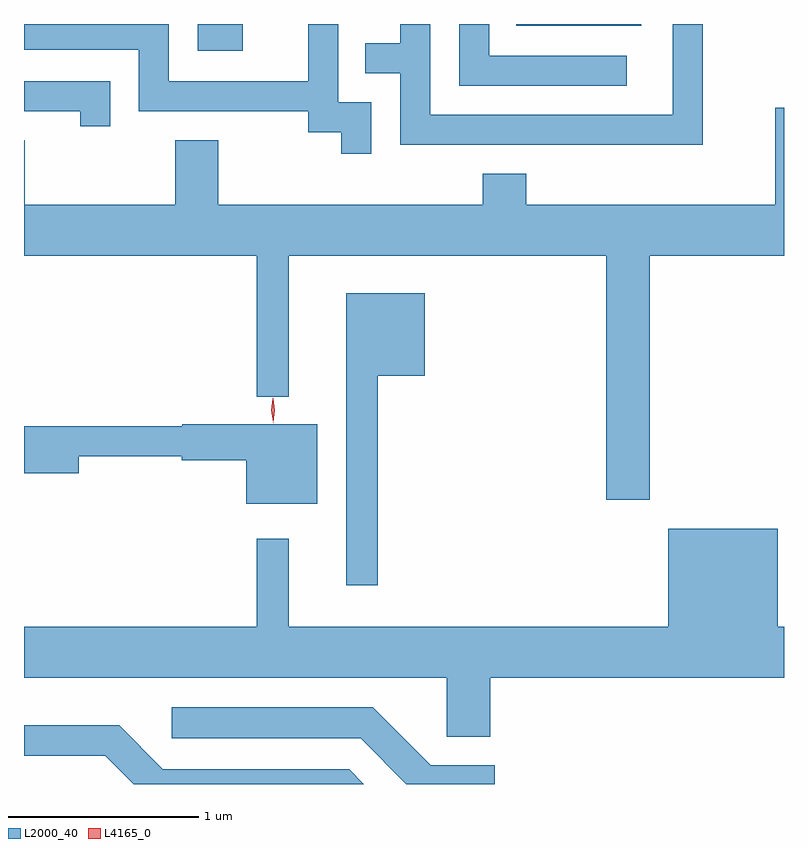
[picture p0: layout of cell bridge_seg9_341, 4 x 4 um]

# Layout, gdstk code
import gdstk
lib = gdstk.Library(unit=1e-6, precision=1e-09)
def R(c, l, rs):  # rectangles x0, y0, x1, y1
    for r in rs: c.add(gdstk.rectangle(r[:2], r[2:], *l))
def P(c, l, *ps):  # polygons
    for p in ps: c.add(gdstk.Polygon(p, *l))
L2000_40 = (2000, 40)
L4165_0 = (4165, 0)

bridge_seg9_341 = lib.new_cell('bridge_seg9_341')
R(bridge_seg9_341, L2000_40, [(741.181,2003.996,741.418,2004.136), (742.858,2004.126,743.514,2004.136)])
P(bridge_seg9_341, L2000_40, [(743.839,2004.136),(743.681,2004.136),(743.681,2003.659),(742.404,2003.659),(742.404,2004.136),(742.246,2004.136),(742.246,2004.034),(742.063,2004.034),(742.063,2003.876),(742.246,2003.876),(742.246,2003.501),(743.839,2003.501)],
  [(742.094,2003.724),(741.919,2003.724),(741.919,2004.136),(741.761,2004.136),(741.761,2003.834),(741.029,2003.834),(741.029,2004.136),(740.266,2004.136),(740.266,2004.001),(740.871,2004.001),(740.871,2003.676),(741.761,2003.676),(741.761,2003.566),(741.936,2003.566),(741.936,2003.453),(742.094,2003.453)],
  [(743.438,2003.969),(742.714,2003.969),(742.714,2004.136),(742.556,2004.136),(742.556,2003.811),(743.438,2003.811)],
  [(740.719,2003.834),(740.266,2003.834),(740.266,2003.676),(740.561,2003.676),(740.561,2003.598),(740.719,2003.598)],
  [(743.559,2002.916),(744.266,2002.916),(744.266,2003.694),(744.221,2003.694),(744.221,2003.184),(742.909,2003.184),(742.909,2003.349),(742.681,2003.349),(742.681,2003.184),(741.289,2003.184),(741.289,2003.524),(741.061,2003.524),(741.061,2003.184),(740.269,2003.184),(740.269,2003.524),(740.266,2003.524),(740.266,2002.916),(741.491,2002.916),(741.491,2002.173),(741.659,2002.173),(741.659,2002.916),(743.331,2002.916),(743.331,2001.631),(743.559,2001.631)],
  [(742.129,2002.286),(742.374,2002.286),(742.374,2002.719),(741.961,2002.719),(741.961,2001.183),(742.129,2001.183)],
  [(741.809,2002.029),(741.1,2002.029),(741.1,2002.019),(740.266,2002.019),(740.266,2001.771),(740.554,2001.771),(740.554,2001.861),(741.096,2001.861),(741.096,2001.841),(741.436,2001.841),(741.436,2001.611),(741.809,2001.611)],
  [(742.719,2000.696),(744.266,2000.696),(744.266,2000.964),(744.234,2000.964),(744.234,2001.479),(743.656,2001.479),(743.656,2000.964),(741.659,2000.964),(741.659,2001.428),(741.491,2001.428),(741.491,2000.964),(740.266,2000.964),(740.266,2000.696),(742.491,2000.696),(742.491,2000.386),(742.719,2000.386)],
  [(742.744,2000.234),(742.407,2000.234),(742.102,2000.539),(741.043,2000.539),(741.043,2000.376),(742.039,2000.376),(742.279,2000.136),(742.744,2000.136)],
  [(741.977,2000.214),(740.997,2000.214),(740.767,2000.444),(740.266,2000.444),(740.266,2000.286),(740.694,2000.286),(740.844,2000.136),(742.055,2000.136)])
P(bridge_seg9_341, L4165_0, [(741.577,2002.038),(741.577,2002.039),(741.567,2002.103),(741.576,2002.166),(741.576,2002.167),(741.577,2002.166),(741.587,2002.103),(741.578,2002.039)])

lib.write_gds('bridge_seg9_341.gds')
